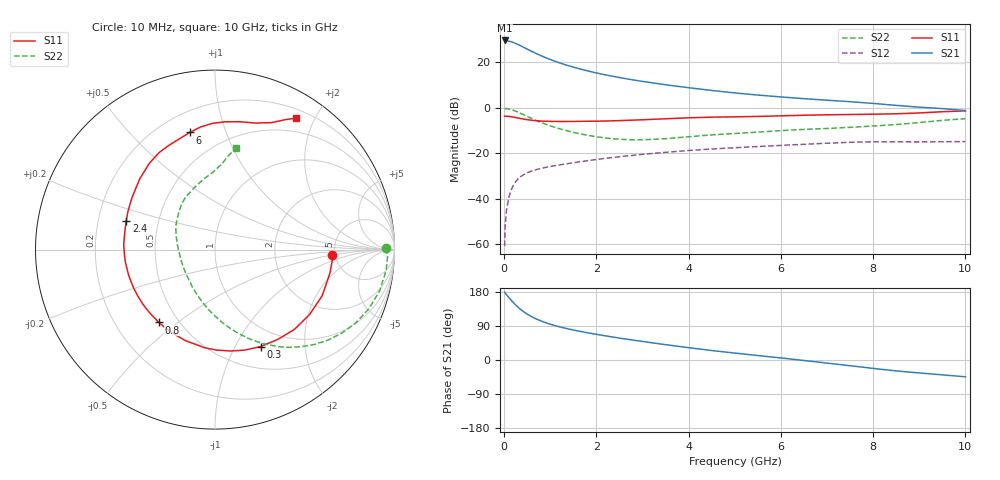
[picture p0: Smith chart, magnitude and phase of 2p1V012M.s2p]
! (c) 2009  Infineon Technologies AG, Munich
! Infineon Technologies  Discrete & RF Semiconductors
! BFP420
! VCE =  1.0 V,  IC =  12 mA
! Common Emitter S-Parameters:  Nov 2009
# GHz  S  MA  R  50
!  f  S11  S21  S12  S22
! GHz  MAG  ANG  MAG  ANG  MAG  ANG  MAG  ANG
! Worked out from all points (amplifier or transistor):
!   46 points, 10 MHz to 10 GHz, reference 50 ohm
!   highest |S21| = 29.7 dB at 10 MHz (marker M1)
!   |S21| within 3 dB of that: start of sweep to 421.8 MHz
!   unconditionally stable (mu >= 1): 2.125 GHz to end of sweep
!   at 300 MHz: K = 0.22, MSG = 29.6 dB, |S12| = -31.3 dB
!   at 1.7 GHz: K = 0.89, MSG = 20.2 dB, |S12| = -23.6 dB
!   at 10 GHz: K = 1.07, MAG = 5.2 dB, |S12| = -14.9 dB
!   lowest NFmin = 0.95 dB at 900 MHz
!   S11 on the Smith chart (normalised r, x): 10 MHz: 4.74, -0.51; 300 MHz: 0.76, -1.28; 800 MHz: 0.39, -0.43; 2.4 GHz: 0.32, +0.14; 6 GHz: 0.32, +0.76; 10 GHz: 0.31, +1.75
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0.01  0.6549 -2.7  30.51 179.3  0.0009 103.5  0.9544 0.5
0.02  0.6567 -4.9  29.9 177.3  0.0023 90.4  0.9622 -2.6
0.1  0.65 -23.4  29.49 165.2  0.0105 79.9  0.9456 -14.0
0.15  0.639 -34.5  28.61 158.1  0.0153 75.1  0.9194 -20.9
0.2  0.6273 -45.1  27.5 151.5  0.0197 70.6  0.8854 -27.3
0.25  0.6106 -55.0  26.14 145.1  0.0236 66.6  0.8472 -33.2
0.3  0.5972 -64.7  24.85 139.4  0.0271 63.0  0.8058 -38.8
0.4  0.5716 -81.3  22.17 129.5  0.0328 57.2  0.7237 -48.4
0.5  0.5504 -95.8  19.68 121.1  0.0373 52.8  0.6477 -56.7
0.6  0.5331 -108.2  17.51 114.0  0.0408 49.6  0.5817 -63.7
0.7  0.5211 -118.7  15.65 108.1  0.0438 47.3  0.5252 -69.8
0.8  0.5123 -127.6  14.07 103.0  0.0464 45.7  0.4774 -75.3
1  0.5041 -142.7  11.62 94.5  0.0511 43.5  0.4023 -85.2
1.2  0.5014 -154.4  9.8 87.6  0.0554 42.3  0.347 -94.1
1.7  0.5054 -176.2  6.955 74.3  0.0663 40.3  0.2616 -114.4
2.4  0.5196 162.1  4.858 59.8  0.0817 37.0  0.2074 -143.0
3.5  0.5756 136.8  3.229 40.5  0.105 29.7  0.2097 174.1
5.5  0.6479 108.0  1.914 11.8  0.1406 14.0  0.2924 133.2
6  0.6676 102.1  1.741 5.4  0.149 10.1  0.3151 126.0
7  0.7036 91.2  1.475 -8.2  0.1665 1.1  0.3517 112.2
8.5  0.7405 72.2  1.134 -28.8  0.1786 -15.2  0.4292 91.9
10  0.8604 58.4  0.872 -44.3  0.1807 -25.7  0.579 78.1
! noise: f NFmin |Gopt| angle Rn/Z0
0.9  0.95  0.03  -151  0.13
1.8  1.27  0.13  -152  0.12
2.4  1.38  0.13  -160  0.14
3  1.43  0.22  -145  0.13
4  1.58  0.35  -123  0.17
5  2.03  0.43  -103  0.28
6  2.4  0.47  -91  0.43
